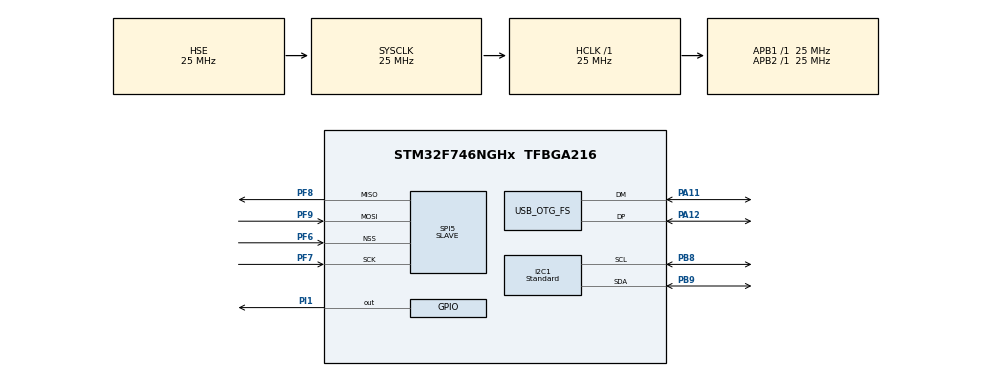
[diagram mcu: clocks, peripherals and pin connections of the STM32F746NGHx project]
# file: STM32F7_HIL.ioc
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CORTEX_M7.default_mode_Activation=1
I2C1.DualAddressMode=I2C_DUALADDRESS_ENABLE
I2C1.GeneralCallMode=I2C_GENERALCALL_DISABLE
I2C1.I2C_Speed_Mode=I2C_Standard
I2C1.OwnAddress=0
I2C1.Speed=100
I2C1.Timing=0x00606092
Mcu.Family=STM32F7
Mcu.Name=STM32F746NGHx
Mcu.Package=TFBGA216
NVIC.I2C1_ER_IRQn=true\:0\:0\:false\:false\:true\:true\:true\:true
NVIC.I2C1_EV_IRQn=true\:0\:0\:false\:false\:true\:true\:true\:true
NVIC.OTG_FS_IRQn=true\:0\:0\:false\:false\:true\:false\:true\:true
NVIC.PriorityGroup=NVIC_PRIORITYGROUP_4
NVIC.SPI5_IRQn=true\:6\:0\:true\:false\:true\:true\:true\:true
NVIC.TIM1_UP_TIM10_IRQn=true\:15\:0\:false\:false\:true\:false\:true\:true
NVIC.TIM2_IRQn=true\:0\:0\:true\:false\:true\:true\:true\:true
NVIC.TIM3_IRQn=true\:0\:0\:false\:false\:true\:true\:true\:true
NVIC.TimeBase=TIM1_UP_TIM10_IRQn
NVIC.TimeBaseIP=TIM1
PA11.Mode=Device_Only
PA11.Signal=USB_OTG_FS_DM
PA12.Mode=Device_Only
PA12.Signal=USB_OTG_FS_DP
PA13.Mode=Serial_Wire
PA13.Signal=SYS_JTMS-SWDIO
PA14.Mode=Serial_Wire
PA14.Signal=SYS_JTCK-SWCLK
PB8.GPIO_Pu=GPIO_NOPULL
PB8.Mode=I2C
PB8.Signal=I2C1_SCL
PB9.GPIO_Pu=GPIO_NOPULL
PB9.Mode=I2C
PB9.Signal=I2C1_SDA
PF6.GPIO_PuPd=GPIO_PULLUP
PF6.Mode=NSS_Signal_Hard_Input
PF6.Signal=SPI5_NSS
PF7.GPIO_PuPd=GPIO_PULLUP
PF7.Mode=Full_Duplex_Slave
PF7.Signal=SPI5_SCK
PF8.GPIO_PuPd=GPIO_PULLUP
PF8.Mode=Full_Duplex_Slave
PF8.Signal=SPI5_MISO
PF9.GPIO_PuPd=GPIO_PULLUP
PF9.Mode=Full_Duplex_Slave
PF9.Signal=SPI5_MOSI
PH0/OSC_IN.Mode=HSE-External-Clock-Source
PH0/OSC_IN.Signal=RCC_OSC_IN
PH1/OSC_OUT.Mode=HSE-External-Clock-Source
PH1/OSC_OUT.Signal=RCC_OSC_OUT
PI1.Signal=GPIO_Output
ProjectManager.HeapSize=0x200
ProjectManager.StackSize=0x400
ProjectManager.TargetToolchain=STM32CubeIDE
RCC.AHBFreq_Value=25000000
RCC.APB1Freq_Value=25000000
RCC.APB1TimFreq_Value=25000000
RCC.APB2Freq_Value=25000000
RCC.APB2TimFreq_Value=25000000
RCC.CortexFreq_Value=25000000
RCC.HCLKFreq_Value=25000000
RCC.HSE_VALUE=25000000
RCC.HSI_VALUE=16000000
RCC.LSE_VALUE=32768
RCC.PLL48CLockSelection=RCC_CLK48SOURCE_PLLSAIP
RCC.PLLM=25
RCC.PLLN=69
RCC.PLLQ=3
RCC.PLLSAIP=RCC_PLLSAIP_DIV4
RCC.SYSCLKFreq_VALUE=25000000
RCC.SYSCLKSource=RCC_SYSCLKSOURCE_HSE
RCC.USBFreq_Value=48000000
RCC.VCOOutputFreq_Value=69000000
SPI5.CLKPhase=SPI_PHASE_2EDGE
SPI5.DataSize=SPI_DATASIZE_8BIT
SPI5.Direction=SPI_DIRECTION_2LINES
SPI5.Mode=SPI_MODE_SLAVE
SPI5.VirtualNSS=VM_NSSHARD
SPI5.VirtualType=VM_SLAVE
TIM2.Prescaler=2499
TIM3.Period=9999
TIM3.Prescaler=2499
USB_DEVICE.CLASS_NAME_FS=CDC
USB_DEVICE.VirtualMode-CDC_FS=Cdc
USB_DEVICE.VirtualModeFS=Cdc_FS
USB_OTG_FS.VirtualMode=Device_Only
VP_SYS_VS_tim1.Mode=TIM1
VP_TIM2_VS_ClockSourceINT.Mode=Internal
VP_TIM3_VS_ClockSourceINT.Mode=Internal
VP_USB_DEVICE_VS_USB_DEVICE_CDC_FS.Mode=CDC_FS
board=custom

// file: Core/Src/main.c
/* USER CODE BEGIN Header */
/**
  ******************************************************************************
  * @file           : main.c
  * @brief          : Main program body
  ******************************************************************************
  * @attention
  *
  * Copyright (c) 2025 STMicroelectronics.
  * All rights reserved.
  *
  * This software is licensed under terms that can be found in the LICENSE file
  * in the root directory of this software component.
  * If no LICENSE file comes with this software, it is provided AS-IS.
  *
  ******************************************************************************
  */
/* USER CODE END Header */
#include "main.h"
#include "usb_device.h"

/* USER CODE BEGIN Includes */
#include <string.h>
#include <stdarg.h>
#include <stdio.h>
#include <stm32f7xx_ll_gpio.h>
#include "FreeRTOS.h"
#include "task.h"
#include "usbd_cdc_if.h"
#include "cmd.h"
#include "w25q_slave.h"
#include "i2c_rtc.h"
/* USER CODE END Includes */

I2C_HandleTypeDef hi2c1;

TIM_HandleTypeDef htim2;
TIM_HandleTypeDef htim3;

void SystemClock_Config(void);
static void MPU_Config(void);
static void MX_GPIO_Init(void);
static void MX_I2C1_Init(void);
static void MX_SPI5_Init(void);
static void MX_TIM2_Init(void);
static void MX_TIM3_Init(void);
/* USER CODE BEGIN PFP */
void CDC_printf(const char *fmt, ...);
static void toggle_led(void *pvParameters);
/* USER CODE END PFP */

/* USER CODE BEGIN 0 */
uint32_t cnt=0;
/* USER CODE END 0 */

int main(void)
{

  /* MPU Configuration--------------------------------------------------------*/
  MPU_Config();

  /* MCU Configuration--------------------------------------------------------*/

  /* Reset of all peripherals, Initializes the Flash interface and the Systick. */
  HAL_Init();

  /* Configure the system clock */
  SystemClock_Config();

  /* USER CODE BEGIN SysInit */
  /* Relocate vector table */
  SCB->VTOR = FLASH_BASE;
  /* USER CODE END SysInit */

  /* Initialize all configured peripherals */
  MX_GPIO_Init();
  MX_I2C1_Init();
  MX_USB_DEVICE_Init();
  MX_SPI5_Init();
  MX_TIM2_Init();
  MX_TIM3_Init();
  /* USER CODE BEGIN 2 */
  HAL_TIM_Base_Start_IT(&htim2);
  HAL_TIM_Base_Start_IT(&htim3);
  if (HAL_I2C_EnableListen_IT(&hi2c1) != HAL_OK) {
	  Error_Handler();
  }

  CLI_Init();
  W25Q_Slave_Init(&w25q);
  xTaskCreate(CLI_Task, "CLI", 2048, NULL, 1, NULL);
  xTaskCreate(toggle_led, "toggle_led", configMINIMAL_STACK_SIZE, NULL, 1, NULL);
  vTaskStartScheduler();

  /* USER CODE END 2 */

  /* Infinite loop */
  while (1)
  {

  }
}

void SystemClock_Config(void)
{
  RCC_OscInitTypeDef RCC_OscInitStruct = {0};
  RCC_ClkInitTypeDef RCC_ClkInitStruct = {0};

  /** Macro to configure the PLL multiplication factor
  */
  __HAL_RCC_PLL_PLLM_CONFIG(25);

  /** Macro to configure the PLL clock source
  */
  __HAL_RCC_PLL_PLLSOURCE_CONFIG(RCC_PLLSOURCE_HSE);

  /** Configure the main internal regulator output voltage
  */
  __HAL_RCC_PWR_CLK_ENABLE();
  __HAL_PWR_VOLTAGESCALING_CONFIG(PWR_REGULATOR_VOLTAGE_SCALE3);

  /** Initializes the RCC Oscillators according to the specified parameters
  * in the RCC_OscInitTypeDef structure.
  */
  RCC_OscInitStruct.OscillatorType = RCC_OSCILLATORTYPE_HSE;
  RCC_OscInitStruct.HSEState = RCC_HSE_BYPASS;
  RCC_OscInitStruct.PLL.PLLState = RCC_PLL_NONE;
  RCC_OscInitStruct.PLL.PLLSource = RCC_PLLSOURCE_HSE;
  RCC_OscInitStruct.PLL.PLLM = 25;
  if (HAL_RCC_OscConfig(&RCC_OscInitStruct) != HAL_OK)
  {
    Error_Handler();
  }

  /** Initializes the CPU, AHB and APB buses clocks
  */
  RCC_ClkInitStruct.ClockType = RCC_CLOCKTYPE_HCLK|RCC_CLOCKTYPE_SYSCLK
                              |RCC_CLOCKTYPE_PCLK1|RCC_CLOCKTYPE_PCLK2;
  RCC_ClkInitStruct.SYSCLKSource = RCC_SYSCLKSOURCE_HSE;
  RCC_ClkInitStruct.AHBCLKDivider = RCC_SYSCLK_DIV1;
  RCC_ClkInitStruct.APB1CLKDivider = RCC_HCLK_DIV1;
  RCC_ClkInitStruct.APB2CLKDivider = RCC_HCLK_DIV1;

  if (HAL_RCC_ClockConfig(&RCC_ClkInitStruct, FLASH_LATENCY_0) != HAL_OK)
  {
    Error_Handler();
  }
}

static void MX_I2C1_Init(void)
{

  hi2c1.Instance = I2C1;
  hi2c1.Init.Timing = 0x00606092;
  hi2c1.Init.OwnAddress1 = 0;
  hi2c1.Init.AddressingMode = I2C_ADDRESSINGMODE_7BIT;
  hi2c1.Init.DualAddressMode = I2C_DUALADDRESS_ENABLE;
  hi2c1.Init.OwnAddress2 = 0;
  hi2c1.Init.OwnAddress2Masks = I2C_OA2_NOMASK;
  hi2c1.Init.GeneralCallMode = I2C_GENERALCALL_DISABLE;
  hi2c1.Init.NoStretchMode = I2C_NOSTRETCH_DISABLE;
  if (HAL_I2C_Init(&hi2c1) != HAL_OK)
  {
    Error_Handler();
  }

  /** Configure Analogue filter
  */
  if (HAL_I2CEx_ConfigAnalogFilter(&hi2c1, I2C_ANALOGFILTER_ENABLE) != HAL_OK)
  {
    Error_Handler();
  }

  /** Configure Digital filter
  */
  if (HAL_I2CEx_ConfigDigitalFilter(&hi2c1, 0) != HAL_OK)
  {
    Error_Handler();
  }

}

static void MX_SPI5_Init(void)
{

  LL_SPI_InitTypeDef SPI_InitStruct = {0};

  LL_GPIO_InitTypeDef GPIO_InitStruct = {0};

  /* Peripheral clock enable */
  LL_APB2_GRP1_EnableClock(LL_APB2_GRP1_PERIPH_SPI5);

  LL_AHB1_GRP1_EnableClock(LL_AHB1_GRP1_PERIPH_GPIOF);
  /**SPI5 GPIO Configuration
  PF7   ------> SPI5_SCK
  PF6   ------> SPI5_NSS
  PF9   ------> SPI5_MOSI
  PF8   ------> SPI5_MISO
  */
  GPIO_InitStruct.Pin = LL_GPIO_PIN_7;
  GPIO_InitStruct.Mode = LL_GPIO_MODE_ALTERNATE;
  GPIO_InitStruct.Speed = LL_GPIO_SPEED_FREQ_VERY_HIGH;
  GPIO_InitStruct.OutputType = LL_GPIO_OUTPUT_PUSHPULL;
  GPIO_InitStruct.Pull = LL_GPIO_PULL_UP;
  GPIO_InitStruct.Alternate = LL_GPIO_AF_5;
  LL_GPIO_Init(GPIOF, &GPIO_InitStruct);

  GPIO_InitStruct.Pin = LL_GPIO_PIN_6;
  GPIO_InitStruct.Mode = LL_GPIO_MODE_ALTERNATE;
  GPIO_InitStruct.Speed = LL_GPIO_SPEED_FREQ_VERY_HIGH;
  GPIO_InitStruct.OutputType = LL_GPIO_OUTPUT_PUSHPULL;
  GPIO_InitStruct.Pull = LL_GPIO_PULL_UP;
  GPIO_InitStruct.Alternate = LL_GPIO_AF_5;
  LL_GPIO_Init(GPIOF, &GPIO_InitStruct);

  GPIO_InitStruct.Pin = LL_GPIO_PIN_9;
  GPIO_InitStruct.Mode = LL_GPIO_MODE_ALTERNATE;
  GPIO_InitStruct.Speed = LL_GPIO_SPEED_FREQ_VERY_HIGH;
  GPIO_InitStruct.OutputType = LL_GPIO_OUTPUT_PUSHPULL;
  GPIO_InitStruct.Pull = LL_GPIO_PULL_UP;
  GPIO_InitStruct.Alternate = LL_GPIO_AF_5;
  LL_GPIO_Init(GPIOF, &GPIO_InitStruct);

  GPIO_InitStruct.Pin = LL_GPIO_PIN_8;
  GPIO_InitStruct.Mode = LL_GPIO_MODE_ALTERNATE;
  GPIO_InitStruct.Speed = LL_GPIO_SPEED_FREQ_VERY_HIGH;
  GPIO_InitStruct.OutputType = LL_GPIO_OUTPUT_PUSHPULL;
  GPIO_InitStruct.Pull = LL_GPIO_PULL_UP;
  GPIO_InitStruct.Alternate = LL_GPIO_AF_5;
  LL_GPIO_Init(GPIOF, &GPIO_InitStruct);

  /* SPI5 interrupt Init */
  NVIC_SetPriority(SPI5_IRQn, NVIC_EncodePriority(NVIC_GetPriorityGrouping(),6, 0));
  NVIC_EnableIRQ(SPI5_IRQn);

  /* SPI5 parameter configuration*/
  SPI_InitStruct.TransferDirection = LL_SPI_FULL_DUPLEX;
  SPI_InitStruct.Mode = LL_SPI_MODE_SLAVE;
  SPI_InitStruct.DataWidth = LL_SPI_DATAWIDTH_8BIT;
  SPI_InitStruct.ClockPolarity = LL_SPI_POLARITY_LOW;
  SPI_InitStruct.ClockPhase = LL_SPI_PHASE_2EDGE;
  SPI_InitStruct.NSS = LL_SPI_NSS_HARD_INPUT;
  SPI_InitStruct.BitOrder = LL_SPI_MSB_FIRST;
  SPI_InitStruct.CRCCalculation = LL_SPI_CRCCALCULATION_DISABLE;
  SPI_InitStruct.CRCPoly = 7;
  LL_SPI_Init(SPI5, &SPI_InitStruct);
  LL_SPI_SetStandard(SPI5, LL_SPI_PROTOCOL_MOTOROLA);
  LL_SPI_DisableNSSPulseMgt(SPI5);
  /* USER CODE BEGIN SPI5_Init 2 */
  LL_SPI_Enable(SPI5);
	LL_SPI_EnableIT_RXNE(SPI5);
  /* USER CODE END SPI5_Init 2 */

}

static void MX_TIM2_Init(void)
{

  TIM_ClockConfigTypeDef sClockSourceConfig = {0};
  TIM_MasterConfigTypeDef sMasterConfig = {0};

  htim2.Instance = TIM2;
  htim2.Init.Prescaler = 2499;
  htim2.Init.CounterMode = TIM_COUNTERMODE_UP;
  htim2.Init.Period = 4294967295;
  htim2.Init.ClockDivision = TIM_CLOCKDIVISION_DIV1;
  htim2.Init.AutoReloadPreload = TIM_AUTORELOAD_PRELOAD_DISABLE;
  if (HAL_TIM_Base_Init(&htim2) != HAL_OK)
  {
    Error_Handler();
  }
  sClockSourceConfig.ClockSource = TIM_CLOCKSOURCE_INTERNAL;
  if (HAL_TIM_ConfigClockSource(&htim2, &sClockSourceConfig) != HAL_OK)
  {
    Error_Handler();
  }
  sMasterConfig.MasterOutputTrigger = TIM_TRGO_RESET;
  sMasterConfig.MasterSlaveMode = TIM_MASTERSLAVEMODE_DISABLE;
  if (HAL_TIMEx_MasterConfigSynchronization(&htim2, &sMasterConfig) != HAL_OK)
  {
    Error_Handler();
  }

}

static void MX_TIM3_Init(void)
{

  TIM_ClockConfigTypeDef sClockSourceConfig = {0};
  TIM_MasterConfigTypeDef sMasterConfig = {0};

  htim3.Instance = TIM3;
  htim3.Init.Prescaler = 2499;
  htim3.Init.CounterMode = TIM_COUNTERMODE_UP;
  htim3.Init.Period = 9999;
  htim3.Init.ClockDivision = TIM_CLOCKDIVISION_DIV1;
  htim3.Init.AutoReloadPreload = TIM_AUTORELOAD_PRELOAD_DISABLE;
  if (HAL_TIM_Base_Init(&htim3) != HAL_OK)
  {
    Error_Handler();
  }
  sClockSourceConfig.ClockSource = TIM_CLOCKSOURCE_INTERNAL;
  if (HAL_TIM_ConfigClockSource(&htim3, &sClockSourceConfig) != HAL_OK)
  {
    Error_Handler();
  }
  sMasterConfig.MasterOutputTrigger = TIM_TRGO_RESET;
  sMasterConfig.MasterSlaveMode = TIM_MASTERSLAVEMODE_DISABLE;
  if (HAL_TIMEx_MasterConfigSynchronization(&htim3, &sMasterConfig) != HAL_OK)
  {
    Error_Handler();
  }

}

static void MX_GPIO_Init(void)
{
  GPIO_InitTypeDef GPIO_InitStruct = {0};

  /* GPIO Ports Clock Enable */
  __HAL_RCC_GPIOB_CLK_ENABLE();
  __HAL_RCC_GPIOA_CLK_ENABLE();
  __HAL_RCC_GPIOI_CLK_ENABLE();
  __HAL_RCC_GPIOH_CLK_ENABLE();
  __HAL_RCC_GPIOF_CLK_ENABLE();

  /*Configure GPIO pin Output Level */
  HAL_GPIO_WritePin(GPIOI, GPIO_PIN_1, GPIO_PIN_RESET);

  /*Configure GPIO pin : PI1 */
  GPIO_InitStruct.Pin = GPIO_PIN_1;
  GPIO_InitStruct.Mode = GPIO_MODE_OUTPUT_PP;
  GPIO_InitStruct.Pull = GPIO_NOPULL;
  GPIO_InitStruct.Speed = GPIO_SPEED_FREQ_LOW;
  HAL_GPIO_Init(GPIOI, &GPIO_InitStruct);

}

/* USER CODE BEGIN 4 */
void CDC_printf(const char *fmt, ...)
{
    char buf[128];
    va_list args;
    va_start(args, fmt);
    int len = vsnprintf(buf, sizeof(buf), fmt, args);
    va_end(args);

    if (len > 0) {
        CDC_Transmit_FS((uint8_t*)buf, len);
    }
}
static void toggle_led(void *pvParameters)
{
	while (1) {
		LL_GPIO_TogglePin(GPIOI, LL_GPIO_PIN_1);
		vTaskDelay(pdMS_TO_TICKS(500));
	}
}
/* USER CODE END 4 */

 /* MPU Configuration */

void MPU_Config(void)
{
  MPU_Region_InitTypeDef MPU_InitStruct = {0};

  /* Disables the MPU */
  HAL_MPU_Disable();

  /** Initializes and configures the Region and the memory to be protected
  */
  MPU_InitStruct.Enable = MPU_REGION_ENABLE;
  MPU_InitStruct.Number = MPU_REGION_NUMBER0;
  MPU_InitStruct.BaseAddress = 0x0;
  MPU_InitStruct.Size = MPU_REGION_SIZE_4GB;
  MPU_InitStruct.SubRegionDisable = 0x87;
  MPU_InitStruct.TypeExtField = MPU_TEX_LEVEL0;
  MPU_InitStruct.AccessPermission = MPU_REGION_NO_ACCESS;
  MPU_InitStruct.DisableExec = MPU_INSTRUCTION_ACCESS_DISABLE;
  MPU_InitStruct.IsShareable = MPU_ACCESS_SHAREABLE;
  MPU_InitStruct.IsCacheable = MPU_ACCESS_NOT_CACHEABLE;
  MPU_InitStruct.IsBufferable = MPU_ACCESS_NOT_BUFFERABLE;

  HAL_MPU_ConfigRegion(&MPU_InitStruct);
  /* Enables the MPU */
  HAL_MPU_Enable(MPU_PRIVILEGED_DEFAULT);

}

void HAL_TIM_PeriodElapsedCallback(TIM_HandleTypeDef *htim)
{
  if (htim->Instance == TIM1)
  {
    HAL_IncTick();
  }
  /* USER CODE BEGIN Callback 1 */
	if (htim->Instance == TIM3) {
		rtc_tick();
		cnt++;
	}
  /* USER CODE BEGIN Callback 1 */

  /* USER CODE END Callback 1 */
}

void Error_Handler(void)
{
  __disable_irq();
  while (1)
  {
  }
}
